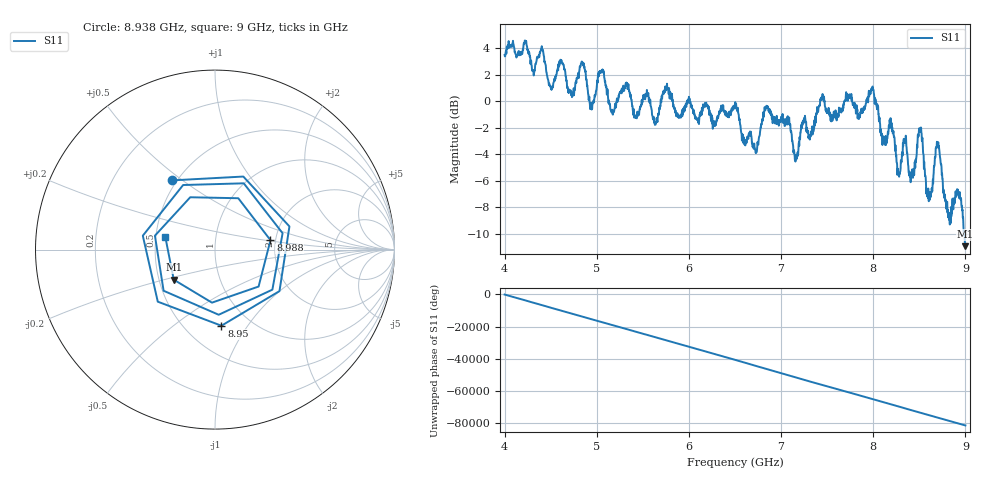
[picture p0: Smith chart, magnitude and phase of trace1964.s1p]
! Created with skrf 1.8.0 (http://scikit-rf.org).
# Hz S RI R 50.0
!freq ReS11 ImS11
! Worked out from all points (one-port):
!   1601 points, 4 GHz to 9 GHz, reference 50 ohm
!   lowest |S11| = -10.9 dB at 8.997 GHz (marker M1), VSWR 1.79, Z = 29.8 - j10.9 ohm
!   |S11| at or under -10 dB: 8.983285 GHz to 8.989683 GHz (6.398 MHz wide, 0.0712 % of centre); 8.991277 GHz to end of sweep
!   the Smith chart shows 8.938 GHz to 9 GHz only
!   S11 on the Smith chart (normalised r, x): 8.938 GHz: 0.47, +0.46; 8.95 GHz: 0.74, -0.76; 8.988 GHz: 1.88, +0.22; 9 GHz: 0.56, +0.09
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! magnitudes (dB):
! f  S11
! 4 GHz  3.5
! 4.403 GHz  4.1
! 4.503 GHz  0.9
! 4.625 GHz  2.8
! 4.722 GHz  0.5
! 4.853 GHz  2.9
! 4.947 GHz  -0.6
! 5.05 GHz  2.3
! 5.162 GHz  -0.8
! 5.25 GHz  0.6
! 5.875 GHz  -0.9
! 6.5 GHz  -0.3
! 6.716 GHz  -3.5
! 6.844 GHz  -0.4
! 7.125 GHz  -3.1
! 7.75 GHz  0.3
! 7.984 GHz  0.9
! 8.272 GHz  -5.4
! 8.375 GHz  -4.4
! 8.509 GHz  -2.3
! 8.6 GHz  -7.3
! 8.7 GHz  -3.1
! 8.816 GHz  -8.5
! 8.938 GHz  -6.8
! 8.95 GHz  -7.4
! 8.988 GHz  -10.1
! 8.997 GHz  -10.9
! 9 GHz  -10.9
